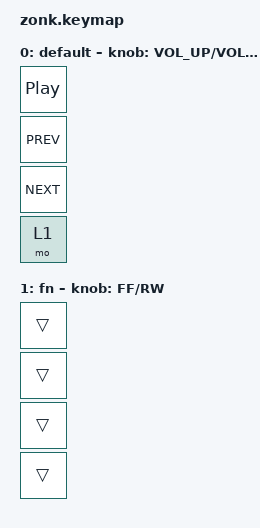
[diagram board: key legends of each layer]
#include <behaviors.dtsi>
#include <dt-bindings/zmk/keys.h>

/ {
  keymap {
    compatible = "zmk,keymap";
    
    default_layer {
      display-name = "default";
      bindings = <
        &kp C_PLAY_PAUSE
        &kp C_PREV
        &kp C_NEXT
        &mo 1
      >;

      sensor-bindings = <&inc_dec_kp C_VOL_UP C_VOL_DN>;
    };

    fn_layer {
      display-name = "fn";
      bindings = <
        &trans
        &trans
        &trans
        &trans
      >;

      sensor-bindings = <&inc_dec_kp C_FF C_RW>;
    };
  };

  combos {
    compatible = "zmk,combos";
    combo_bootloader {
      timeout-ms = <500>;
      key-positions = <0 1>;
      bindings = <&bootloader>;
    };
  };
};
